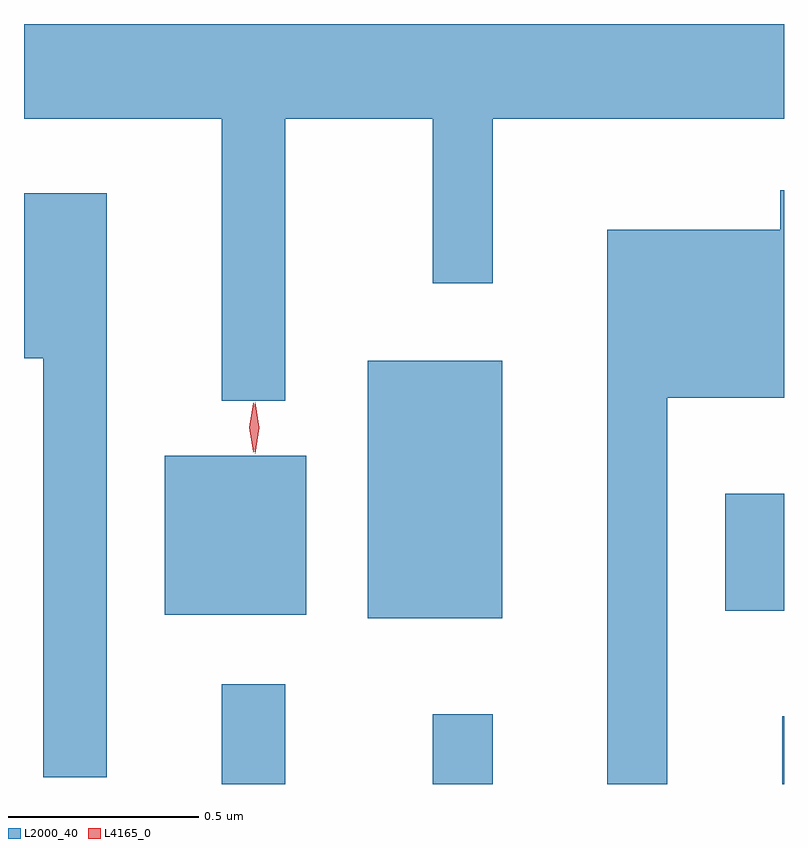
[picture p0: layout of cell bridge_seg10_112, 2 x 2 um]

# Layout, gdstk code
import gdstk
lib = gdstk.Library(unit=1e-6, precision=1e-09)
def R(c, l, rs):  # rectangles x0, y0, x1, y1
    for r in rs: c.add(gdstk.rectangle(r[:2], r[2:], *l))
def P(c, l, *ps):  # polygons
    for p in ps: c.add(gdstk.Polygon(p, *l))
L2000_40 = (2000, 40)
L4165_0 = (4165, 0)

bridge_seg10_112 = lib.new_cell('bridge_seg10_112')
R(bridge_seg10_112, L2000_40, [(1556.151,2205.405,1556.319,2205.668), (1556.706,2205.405,1556.864,2205.588), (1557.626,2205.405,1557.631,2205.583), (1556.536,2205.841,1556.889,2206.519), (1556.001,2205.851,1556.374,2206.269), (1557.476,2205.861,1557.631,2206.169)])
P(bridge_seg10_112, L2000_40, [(1556.319,2207.156),(1556.706,2207.156),(1556.706,2206.723),(1556.864,2206.723),(1556.864,2207.156),(1557.631,2207.156),(1557.631,2207.405),(1555.631,2207.405),(1555.631,2207.156),(1556.151,2207.156),(1556.151,2206.413),(1556.319,2206.413)],
  [(1557.324,2206.421),(1557.631,2206.421),(1557.631,2206.968),(1557.621,2206.968),(1557.621,2206.864),(1557.166,2206.864),(1557.166,2205.405),(1557.324,2205.405)],
  [(1555.849,2206.959),(1555.631,2206.959),(1555.631,2206.526),(1555.681,2206.526),(1555.681,2205.423),(1555.849,2205.423)])
P(bridge_seg10_112, L4165_0, [(1556.234,2206.278),(1556.234,2206.279),(1556.224,2206.343),(1556.234,2206.407),(1556.234,2206.408),(1556.235,2206.407),(1556.244,2206.343),(1556.235,2206.279)],
  [(1556.239,2206.274),(1556.23,2206.342),(1556.239,2206.41),(1556.24,2206.41),(1556.24,2206.41),(1556.25,2206.342),(1556.24,2206.274),(1556.24,2206.274)])

lib.write_gds('bridge_seg10_112.gds')
